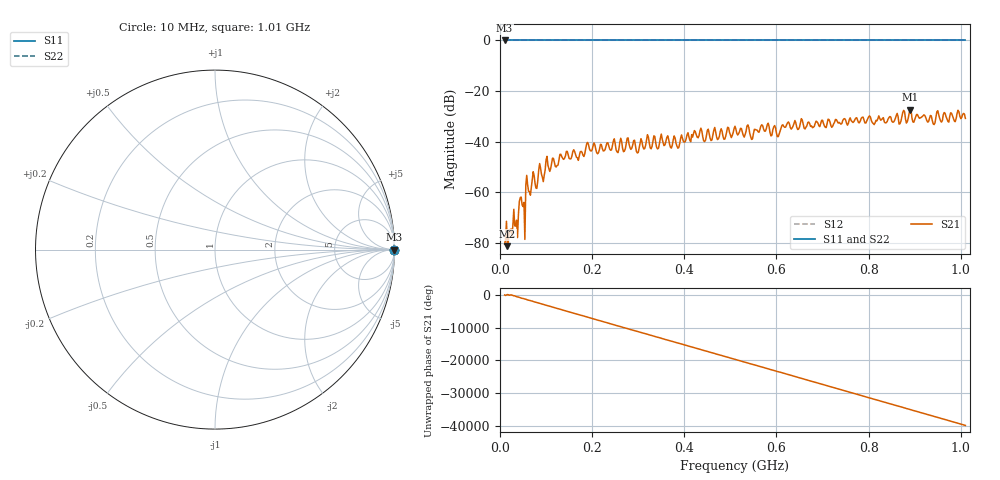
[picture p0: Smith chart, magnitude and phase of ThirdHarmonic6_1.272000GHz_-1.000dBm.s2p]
! 8/16/2025 1:46:26 PM
! C:\ANRITSUVNA\TEMP\TEMP.S2P
! CHANNEL.1
! TR.MEASUREMENT
! RAW.DATA
! RF.CORRECTION.OFF
! AVERAGING.OFF
! IF.BANDWIDTH: 5KHZ
! SWEEPTYPE:  FREQ.SWEEP(Linear)
! Reference Plane Port Info
! PORT:  PORT1  PORT2
! DISTANCE:  0  m  0  m
! TIME:  0  s  0  s
! PHASE.OFFSET:  0  deg.  0  deg.
! LOSS:  0  dB  0  dB
! REF.LOSS:  0  dB  0  dB
! REF.FREQ:  0  Hz  0  Hz
! Power Info
! POWER:  -20  dBm  -20  dBm
! EFF.POWER:  -20  dBm  -20  dBm
! SOURCE.ATTEN:  0  dB  0  dB
! TEST.ATTEN:  0  dB  0  dB
# GHZ S RI R 50.0
! FREQ.GHZ  S11RE  S11IM  S21RE  S21IM  S12RE  S12IM  S22RE  S22IM
!; PortSelection: Port_12
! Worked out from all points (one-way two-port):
!   501 points, 10 MHz to 1.01 GHz, reference 50 ohm
!   highest |S21| = -27.37 dB at 890 MHz (marker M1); lowest = -81.4 dB at 16 MHz (marker M2)
!   lowest |S11| = 0.0 dB at 10 MHz (marker M3)
!   |S11| at or under -10 dB: nowhere
!   |S22| runs from 0.0 to 0.0 dB; largest |S21 - S12| = 1
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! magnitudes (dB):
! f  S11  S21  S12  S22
! 10 MHz  0.0  -80.6  0.0  0.0
! 16 MHz  0.0  -81.4  0.0  0.0
! 36 MHz  0.0  -71.1  0.0  0.0
! 46 MHz  0.0  -62.0  0.0  0.0
! 50 MHz  0.0  -65.7  0.0  0.0
! 60 MHz  0.0  -57.1  0.0  0.0
! 80 MHz  0.0  -58.5  0.0  0.0
! 86 MHz  0.0  -48.7  0.0  0.0
! 178 MHz  0.0  -44.2  0.0  0.0
! 190 MHz  0.0  -40.3  0.0  0.0
! 344 MHz  0.0  -42.6  0.0  0.0
! 510 MHz  0.0  -33.9  0.0  0.0
! 546 MHz  0.0  -39.2  0.0  0.0
! 568 MHz  0.0  -33.4  0.0  0.0
! 604 MHz  0.0  -38.0  0.0  0.0
! 624 MHz  0.0  -32.6  0.0  0.0
! 678 MHz  0.0  -34.5  0.0  0.0
! 844 MHz  0.0  -30.5  0.0  0.0
! 890 MHz  0.0  -27.4  0.0  0.0
! 942 MHz  0.0  -33.3  0.0  0.0
! 950 MHz  0.0  -27.8  0.0  0.0
! 1.01 GHz  0.0  -30.8  0.0  0.0
